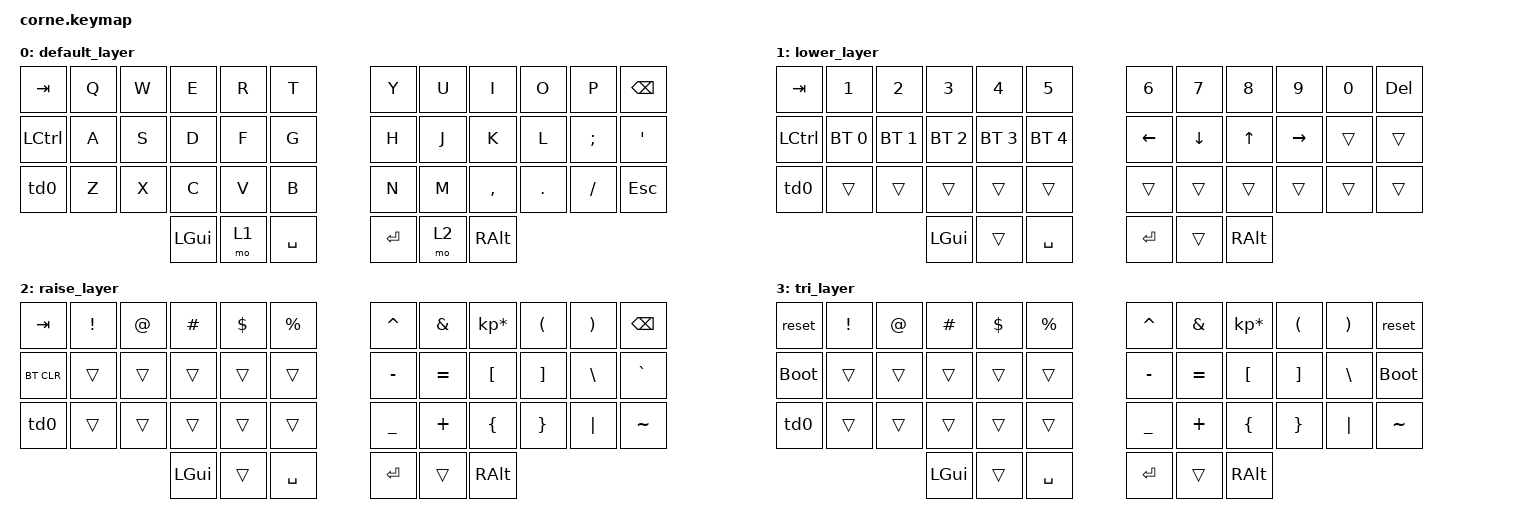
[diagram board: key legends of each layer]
/*
 * Copyright (c) 2020 The ZMK Contributors
 *
 * SPDX-License-Identifier: MIT
 */

#include <behaviors.dtsi>
#include <dt-bindings/zmk/keys.h>
#include <dt-bindings/zmk/bt.h>

&caps_word {
    continue-list = <UNDERSCORE MINUS BACKSPACE>;
};

    
/ {

    behaviors {
        td0: tap_dance_0 {
            compatible = "zmk,behavior-tap-dance";
            label = "TAP_DANCE_0";
            #binding-cells = <0>;
            tapping-term-ms = <200>;
            bindings = <&kp LSHFT>, <&caps_word>;
        };
    };

   conditional_layers {
        compatible = "zmk,conditional-layers";
        tri_layer {
            if-layers = <1 2>;
            then-layer = <3>;
        };
    };
    
        keymap {
                compatible = "zmk,keymap";

                default_layer {
// -----------------------------------------------------------------------------------------
// |  TAB |  Q  |  W  |  E  |  R  |  T  |   |  Y  |  U   |  I  |  O  |  P  | BKSP |
// | CTRL |  A  |  S  |  D  |  F  |  G  |   |  H  |  J   |  K  |  L  |  ;  |  '   |
// | SHFT |  Z  |  X  |  C  |  V  |  B  |   |  N  |  M   |  ,  |  .  |  /  | ESC  |
//                    | GUI | LWR | SPC |   | ENT | RSE  | ALT |
                        bindings = <
   &kp TAB   &kp Q &kp W &kp E &kp R &kp T   &kp Y &kp U  &kp I     &kp O   &kp P    &kp BSPC
   &kp LCTRL &kp A &kp S &kp D &kp F &kp G   &kp H &kp J  &kp K     &kp L   &kp SEMI &kp SQT
   &td0 &kp Z &kp X &kp C &kp V &kp B   &kp N &kp M  &kp COMMA &kp DOT &kp FSLH &kp ESC
                  &kp LGUI &mo 1 &kp SPACE   &kp RET &mo 2 &kp RALT
                        >;
                };
                lower_layer {
// -----------------------------------------------------------------------------------------
// |  TAB |  1  |  2  |  3  |  4  |  5  |   |  6  |  7  |  8  |  9  |  0  | DEL |
// | CTRL | BT1 | BT2 | BT3 | BT4 | BT5 |   | LFT | DWN |  UP | RGT |     |      |
// | SHFT |     |     |     |     |     |   |     |     |     |     |     |      |
//                    | GUI |     | SPC |   | ENT |     | ALT |
                        bindings = <
   &kp TAB    &kp N1       &kp N2       &kp N3       &kp N4       &kp N5         &kp N6   &kp N7   &kp N8 &kp N9    &kp N0 &kp DEL
   &kp LCTRL &bt BT_SEL 0 &bt BT_SEL 1 &bt BT_SEL 2 &bt BT_SEL 3 &bt BT_SEL 4   &kp LEFT &kp DOWN &kp UP &kp RIGHT &trans &trans
   &td0  &trans       &trans       &trans       &trans       &trans         &trans   &trans   &trans &trans    &trans &trans
                          	        &kp LGUI     &trans       &kp SPACE      &kp RET  &trans   &kp RALT
                        >;
                };

                raise_layer {
// -----------------------------------------------------------------------------------------
// |  TAB |  !  |  @  |  #  |  $  |  %  |   |  ^  |  &  |  *  |  (  |  )  | BKSP |
// | BTCRL|     |     |     |     |     |   |  -  |  =  |  [  |  ]  |  \  |  `   |
// | SHFT |     |     |     |     |     |   |  _  |  +  |  {  |  }  | "|" |  ~   |
//                    | GUI |     | SPC |   | ENT |     | ALT |
                        bindings = <
   &kp  TAB  &kp EXCL &kp AT &kp HASH &kp DLLR &kp PRCNT   &kp CARET &kp AMPS  &kp KP_MULTIPLY &kp LPAR &kp RPAR &kp BSPC
   &bt BT_CLR &trans   &trans &trans   &trans   &trans      &kp MINUS &kp EQUAL &kp LBKT        &kp RBKT &kp BSLH &kp GRAVE
   &td0 &trans   &trans &trans   &trans   &trans      &kp UNDER &kp PLUS  &kp LBRC        &kp RBRC &kp PIPE &kp TILDE
                    	     &kp LGUI &trans   &kp SPACE   &kp RET   &trans    &kp RALT
                        >;
                };
                
                tri_layer {
// -----------------------------------------------------------------------------------------
// |  RESET |  !  |  @  |  #  |  $  |  %  |   |  ^  |  &  |  *  |  (  |  )  | RESET |
// | BOOTLOADER|     |     |     |     |     |   |     |     |    |     |     |  BOOTLOADER  |
// | SHFT |     |     |     |     |     |   |     |     |     |     |   |      |
//                    | GUI |     | SPC |   | ENT |     | ALT |
                        bindings = <
   &reset  &kp EXCL &kp AT &kp HASH &kp DLLR &kp PRCNT   &kp CARET &kp AMPS  &kp KP_MULTIPLY &kp LPAR &kp RPAR &reset
   &bootloader &trans   &trans &trans   &trans   &trans      &kp MINUS &kp EQUAL &kp LBKT        &kp RBKT &kp BSLH &bootloader
   &td0 &trans   &trans &trans   &trans   &trans      &kp UNDER &kp PLUS  &kp LBRC        &kp RBRC &kp PIPE &kp TILDE
                    	     &kp LGUI &trans   &kp SPACE   &kp RET   &trans    &kp RALT
                        >;
                };
        };
};
